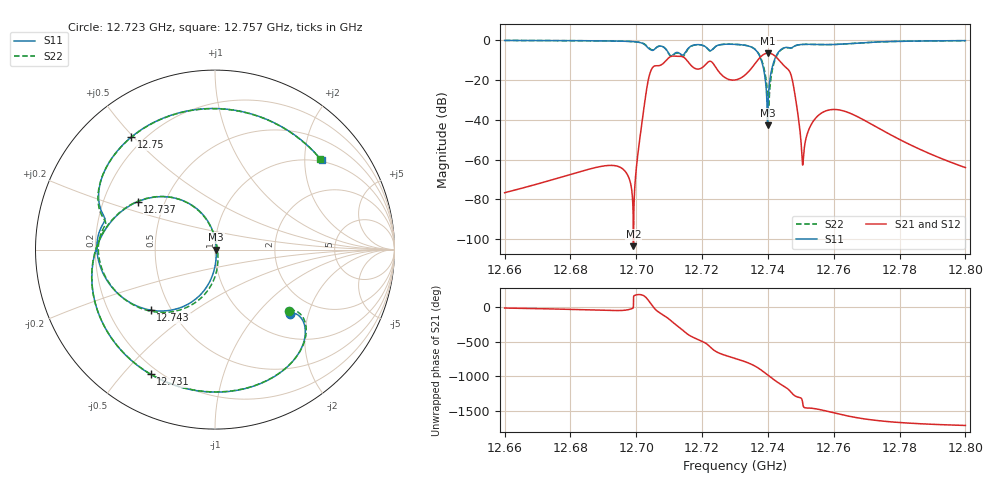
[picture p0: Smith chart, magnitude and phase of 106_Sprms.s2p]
! TOUCHSTONE file generated by CST MICROWAVE STUDIO
! Date and time: Wed Jul 31 16:06:53 2024
! Project name: WaveGuide_BPF-Ver4.1_U-shape_Ku_T3_C4_CWA_2.cst
! Parameters = {cavity_h=16; cavity_l0=10; cavity_l1=15.1804; cavity_l2=16.8039; cavity_l3=17.1365; cavity_l4=17.2659; cavity_l5=17.1676; cavity_l6=17.5993; cavity_r=2.5; cavity_screw_l=0.5; cavity_screw_r=1.5; cavity_w=8; iris_h00=0; iris_h01=8.7994; iris_h112=0; iris_h12=5.611; iris_h211=3.6682; i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
! Header version: 2018
! Port assignment regex: !\s*Touchstone port\s*([0-9]+)\s*=\s*(CST MWS port|CST DS port)\s*([0-9]+|Zmin|Zmax)\s*\(\"(.*)\"\)(\s*mode\s*([0-9]+))?.*
! Touchstone port assignment:
! Touchstone port 1 = CST MWS port 1 ("")
! Touchstone port 2 = CST MWS port 2 ("")
# GHz S RI R 50
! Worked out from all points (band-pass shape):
!   5001 points, 12.66 GHz to 12.8 GHz, reference 50 ohm
!   highest |S21| = -6.52 dB at 12.74 GHz (marker M1); lowest = -103.5 dB at 12.699 GHz (marker M2)
!   |S21| within 3 dB of the highest: 12.70945 GHz to 12.71507 GHz (5.613 MHz wide, 0.0442 % of centre); 12.73716 GHz to 12.74309 GHz (5.932 MHz wide, 0.0466 % of centre)
!   lowest |S11| = -42.9 dB at 12.74 GHz (marker M3), VSWR 1.01, Z = 50.7 + j0.0244 ohm
!   |S11| at or under -10 dB: 12.73797 GHz to 12.74197 GHz (3.993 MHz wide, 0.0313 % of centre)
!   |S22| runs from -37.3 to -0.1 dB; largest |S21 - S12| = 1e-09
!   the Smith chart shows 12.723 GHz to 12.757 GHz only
!   S11 on the Smith chart (normalised r, x): 12.723 GHz: 1.50, -1.53; 12.731 GHz: 0.17, -0.60; 12.737 GHz: 0.35, +0.25; 12.743 GHz: 0.39, -0.34; 12.75 GHz: 0.15, +0.49; 12.757 GHz: 0.97, +2.41
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12.66  0.2016 0.9639  0.000141 -3.89e-05  0.000141 -3.89e-05  0.2059 0.963
12.68335  0.5511 0.7993  0.000397 -0.000317  0.000397 -0.000317  0.5542 0.7973
12.69469  0.7827 0.5355  0.000415 -0.000516  0.000415 -0.000516  0.7842 0.5342
12.69914  0.8608 0.3181  6.09e-06 2.67e-06  6.09e-06 2.67e-06  0.8623 0.3206
12.70354  0.6407 -0.00531  -0.0225 0.0874  -0.0225 0.0874  0.6731 -0.0115
12.70668  0.6847 0.1221  0.0806 -0.213  0.0806 -0.213  0.6913 0.0968
12.71225  0.4899 0.0309  -0.0436 0.3918  -0.0436 0.3918  0.478 0.0144
12.71653  0.6991 0.0642  0.119 -0.2065  0.119 -0.2065  0.6856 0.0837
12.72272  0.4189 -0.356  -0.1941 0.2178  -0.1941 0.2178  0.4143 -0.3408
12.73  -0.2692 -0.7394  0.0927 -0.0375  0.0927 -0.0375  -0.2622 -0.7413
12.73062  -0.3581 -0.6952  0.0877 -0.0531  0.0877 -0.0531  -0.3519 -0.698
12.73678  -0.4297 0.2675  -0.2717 -0.139  -0.2717 -0.139  -0.4461 0.2621
12.73988  0.00719 0.00024  -0.0814 0.4645  -0.0814 0.4645  0.00598 0.0424
12.74008  0.00736 -0.0277  -0.0229 0.4718  -0.0229 0.4718  0.0114 0.0154
12.74313  -0.3575 -0.3373  0.3226 -0.0771  0.3226 -0.0771  -0.3185 -0.3488
12.74719  -0.6167 0.1811  -0.1121 -0.0419  -0.1121 -0.0419  -0.6133 0.1604
12.7503  -0.4671 0.6263  -0.00049 0.00135  -0.00049 0.00135  -0.4798 0.6141
12.75335  0.0176 0.7857  0.00746 -0.00312  0.00746 -0.00312  0.00371 0.785
12.7571  0.5936 0.498  0.00908 -0.0133  0.00908 -0.0133  0.586 0.5058
12.76623  0.309 -0.7788  -0.0116 -0.00612  -0.0116 -0.00612  0.3107 -0.7773
12.77668  -0.6243 -0.6789  -0.00361 0.00263  -0.00361 0.00263  -0.6263 -0.6768
12.8  -0.9699 0.0831  9.89e-06 0.000627  9.89e-06 0.000627  -0.9695 0.0881
